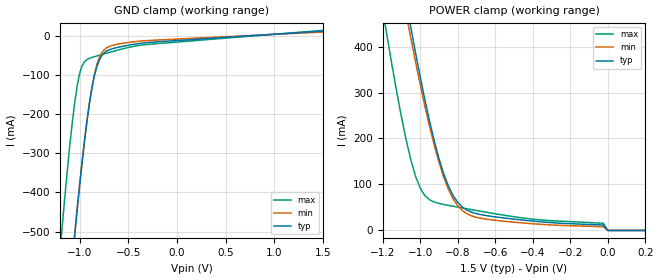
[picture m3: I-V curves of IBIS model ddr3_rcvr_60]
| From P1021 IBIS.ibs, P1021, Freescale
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| * 8520 DDR3 Receiver Model - 60 Ohm Termination *
[Model]   ddr3_rcvr_60
Model_type Input
Polarity   Non-Inverting
Vinl = 0.575V
Vinh = 0.925V
|   typ   min   max
C_comp   3.648330e-12   2.038670e-12   4.817820e-12
|   typ   min   max
[Voltage range]   1.5V   1.4V   1.6V
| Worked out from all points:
|   POWER clamp passes 1 mA (typ) near -0.00 V on its own axis
[GND_clamp]
| Voltage   I(typ)   I(min)   I(max)
-1.5V     -1.835A    -1.807A    -1.469A
-1.2V     -924.2mA   -913.7mA   -546.5mA
-1.175V   -851.9mA   -842.8mA   -475.7mA
-1.1V     -641.3mA   -635.7mA   -278.4mA
-1.05V    -507.8mA   -504.2mA   -169.8mA
-1V       -382.6mA   -380.5mA   -96.92mA
-925mV    -219.5mA   -217.9mA   -61.25mA
-875mV    -136.3mA   -133.3mA   -55.83mA
-825mV    -81.04mA   -75.57mA   -52.01mA
-775mV    -52.32mA   -44.69mA   -48.42mA
-700mV    -36.64mA   -28.06mA   -43.16mA
1.5V      11.5mA     9.102mA    13.35mA
[POWER_clamp]
| Table entry for 0V is set to 0.00 to avoid
| double counting with GND_clamp table
| Voltage   I(typ)   I(min)   I(max)
-1.5V     1.59A      1.496A     1.292A
-1.2V     801.1mA    756mA      480.9mA
-1.175V   738.6mA    697.3mA    418.9mA
-1.075V   498.5mA    471.9mA    197.4mA
-1.05V    441.8mA    418.6mA    153.8mA
-1V       334.4mA    317.4mA    92.1mA
-950mV    237.7mA    226mA      66.69mA
-900mV    156.5mA    148.4mA    58.9mA
-850mV    96.8mA     90.04mA    54.6mA
-750mV    44.05mA    36.06mA    47.05mA
0V        0A         0A         0A
200mV     0A         0A         0A
